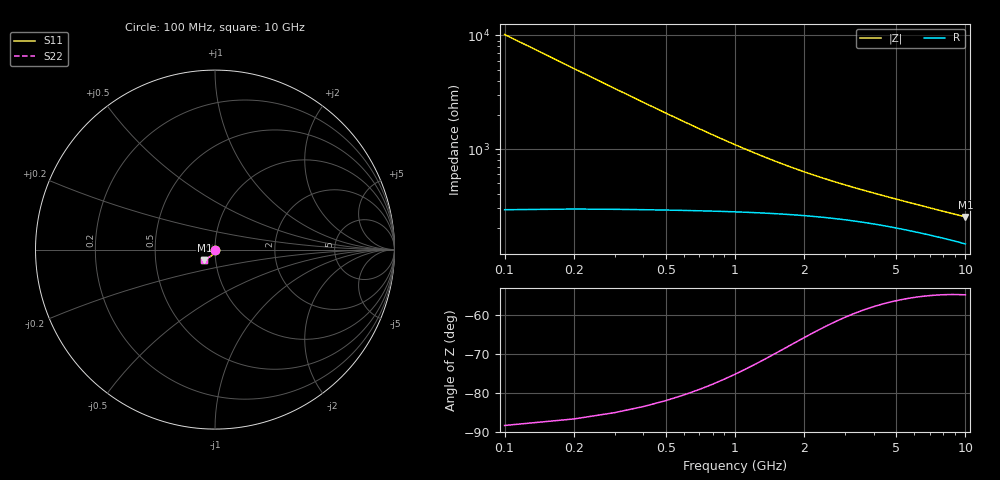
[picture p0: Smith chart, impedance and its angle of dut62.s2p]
! Touchstone file exported from HFSS 2024.1.0
!  File:  C:/UserFiles/LocalFiles/RDL_TSV_Batchsim/temp_TSV1_62_1778749378.aedt
!  Generated:  05:06:44 PM May 14, 2026
!  Design:  TSV1
!  Project:  temp_TSV1_62_1778749378
!  Setup:  Setup1
!  Solution:  Sweep
! Variables:
!  dtsv = 21.51um
!  hbump = 3um
!  htsv = 59.61um
!  lrdl = 252.1521522um
!  p = 40
!  p1 = 48.55um
!  t = 500um
!  trdl = 3um
!  wrdl = 24.89489489um
# GHz S MA R 50.000000
! Terminal data exported
! Port[1] = TSV22_T1
! Port[2] = TSV22_T2
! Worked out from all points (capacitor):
!   100 points, 100 MHz to 10 GHz, reference 50 ohm
!   read as one part in shunt: C = 156 fF near 100 MHz
!   lowest |Z| = 253 ohm at 10 GHz (marker M1)
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0.1  0.002246 -90.1  0.9999 -0.2  0.9999 -0.2  0.002246 -90.1
! Gamma 0 0 0 0
! Port Impedance 50 0 50 0
0.2  0.004487 -92.8  0.9996 -0.3  0.9996 -0.3  0.004487 -92.8
0.3  0.006713 -94.9  0.9992 -0.5  0.9992 -0.5  0.006713 -94.9
0.4  0.008914 -96.8  0.9987 -0.6  0.9987 -0.6  0.008914 -96.8
0.5  0.01108 -98.6  0.9981 -0.7  0.9981 -0.7  0.01108 -98.6
0.6  0.01319 -100.3  0.9974 -0.9  0.9974 -0.9  0.01319 -100.3
0.7  0.01526 -101.9  0.9965 -1.0  0.9965 -1.0  0.01526 -101.9
0.8  0.01726 -103.5  0.9956 -1.1  0.9956 -1.1  0.01726 -103.5
0.9  0.0192 -105.1  0.9947 -1.2  0.9947 -1.2  0.0192 -105.1
1.1  0.02288 -107.9  0.9926 -1.5  0.9926 -1.5  0.02288 -107.9
1.4  0.02788 -111.8  0.9894 -1.8  0.9894 -1.8  0.02788 -111.8
1.6  0.03089 -114.0  0.9872 -1.9  0.9872 -1.9  0.03089 -114.0
1.8  0.03365 -116.1  0.9851 -2.1  0.9851 -2.1  0.03365 -116.1
2.1  0.03738 -118.7  0.982 -2.3  0.982 -2.3  0.03738 -118.7
2.5  0.04173 -121.6  0.9782 -2.5  0.9782 -2.5  0.04173 -121.6
2.9  0.04552 -123.9  0.9747 -2.7  0.9747 -2.7  0.04552 -123.9
3.4  0.04966 -126.2  0.9709 -3.0  0.9709 -3.0  0.04966 -126.2
4.2  0.05535 -128.7  0.9657 -3.3  0.9657 -3.3  0.05535 -128.7
5.1  0.06084 -130.7  0.9608 -3.6  0.9608 -3.6  0.06084 -130.7
6.7  0.06907 -133.0  0.9537 -4.2  0.9537 -4.2  0.06907 -133.0
8.4  0.07639 -134.5  0.9477 -4.7  0.9477 -4.7  0.07639 -134.5
10  0.08238 -135.4  0.9431 -5.2  0.9431 -5.2  0.08238 -135.4
